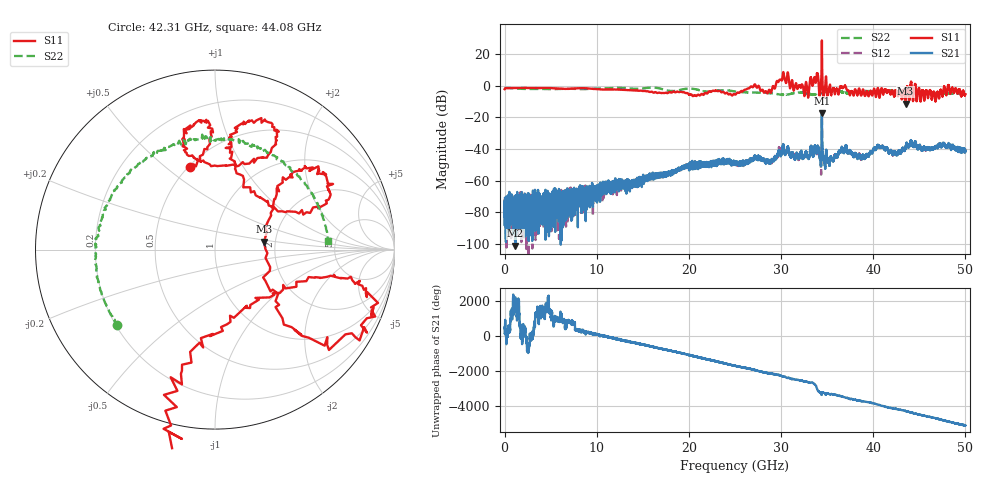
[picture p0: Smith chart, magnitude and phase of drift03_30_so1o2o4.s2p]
!Created with skrf (http://scikit-rf.org).
# Hz S RI R 50.0
!freq ReS11 ImS11 ReS21 ImS21 ReS12 ImS12 ReS22 ImS22
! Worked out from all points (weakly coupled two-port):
!   10000 points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, 5.3 MHz to 50 GHz, reference 50 ohm
!   highest |S21| = -17.17 dB at 34.43 GHz (marker M1); lowest = -101.0 dB at 1.185 GHz (marker M2)
!   lowest |S11| = -11.2 dB at 43.52 GHz (marker M3), VSWR 1.76, Z = 87.1 + j8.17 ohm
!   |S11| at or under -10 dB: 43.48914 GHz to 43.53727 GHz (48.13 MHz wide, 0.111 % of centre); 43.54823 GHz to 43.55157 GHz (3.339 MHz wide, 0.00767 % of centre)
!   |S22| runs from -5.8 to -1.1 dB; largest |S21 - S12| = 0.035
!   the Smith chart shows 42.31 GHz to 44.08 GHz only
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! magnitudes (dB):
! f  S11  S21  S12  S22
! 5.3 MHz  -2.1  -87.7  -83.4  -1.3
! 1.185 GHz  -1.4  -101.0  -82.2  -1.6
! 4.925 GHz  -1.4  -74.5  -81.2  -2.1
! 8.34 GHz  -1.5  -66.1  -75.1  -2.1
! 16.67 GHz  -4.4  -57.1  -57.4  -1.5
! 20.11 GHz  -5.6  -50.2  -50.2  -1.7
! 25.01 GHz  -5.5  -47.7  -48.8  -3.5
! 27.02 GHz  -0.3  -45.7  -45.2  -4.3
! 28.72 GHz  -2.5  -49.2  -47.9  -4.5
! 30.14 GHz  4.4  -40.0  -40.4  -5.7
! 32.74 GHz  2.0  -42.3  -42.3  -4.6
! 33.34 GHz  2.5  -39.3  -40.3  -5.5
! 33.82 GHz  4.0  -41.9  -42.4  -5.7
! 34.43 GHz  28.7  -17.2  -18.9  -4.6
! 35.29 GHz  0.4  -49.2  -47.1  -3.4
! 36.84 GHz  -0.7  -42.2  -41.5  -4.2
! 38.87 GHz  -2.4  -45.0  -43.8  -3.2
! 40.6 GHz  -4.4  -38.6  -38.4  -4.0
! 41.67 GHz  -3.1  -41.5  -42.5  -3.4
! 43.52 GHz  -11.2  -39.3  -39.0  -4.2
! 48.32 GHz  -4.5  -38.5  -37.9  -4.5
! 50 GHz  -5.3  -41.2  -40.7  -4.6
